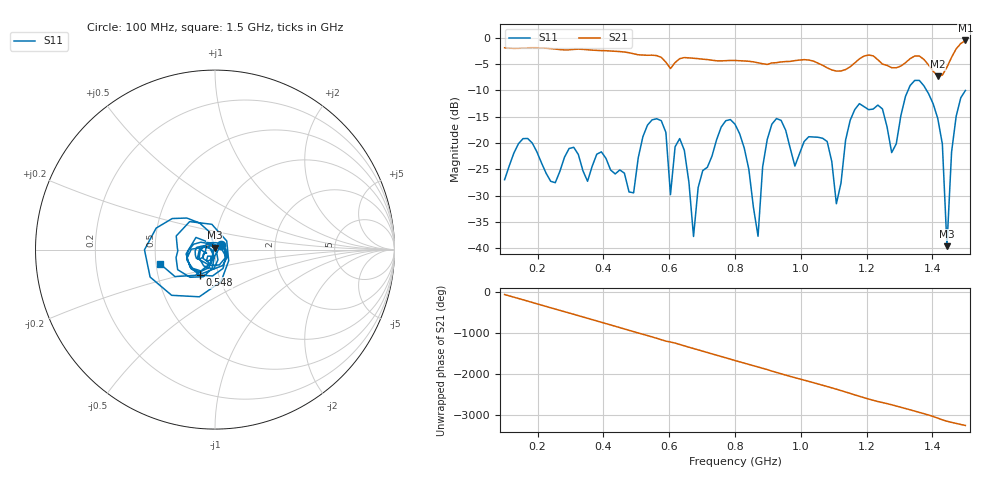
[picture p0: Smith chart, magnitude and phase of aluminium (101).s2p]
! NanoVNA-App
! Date: 2025-09-26 09:58:51
! Start: 100MHz Stop: 1,5GHz Points: 101
! S-Parameter data: F S11 S21 S12 S22
# Hz S RI R 50
!  Frequency  S11_Real  S11_Imag  S21_Real  S21_Imag  S12_Real  S12_Imag  S22_Real  S22_Imag
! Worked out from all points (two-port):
!   101 points, 100 MHz to 1.5 GHz, reference 50 ohm
!   highest |S21| = -0.52 dB at 1.5 GHz (marker M1); lowest = -7.3 dB at 1.416 GHz (marker M2)
!   |S21| within 3 dB of the highest: start of sweep to 567.2 MHz; 1.191 GHz to 1.221 GHz (30.38 MHz wide, 2.52 % of centre) (the widest 2 of 4)
!   lowest |S11| = -39.6 dB at 1.444 GHz (marker M3), VSWR 1.02, Z = 49.7 + j1.01 ohm
!   |S11| at or under -10 dB: start of sweep to 1.326 GHz; 1.382 GHz to end of sweep
!   S12 and S22 are empty: the file has one direction only
!   S11 on the Smith chart (normalised r, x): 100 MHz: 1.07, +0.06; 548 MHz: 0.81, -0.24; 1.5 GHz: 0.53, -0.09
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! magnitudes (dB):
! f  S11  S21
! 100 MHz  -27.0  -1.9
! 156 MHz  -19.2  -2.0
! 338 MHz  -25.3  -2.2
! 492 MHz  -29.5  -3.1
! 548 MHz  -15.6  -3.3
! 576 MHz  -15.8  -3.7
! 604 MHz  -29.8  -5.9
! 646 MHz  -21.4  -3.8
! 674 MHz  -37.8  -3.9
! 702 MHz  -25.3  -4.1
! 800 MHz  -16.4  -4.3
! 870 MHz  -37.7  -4.8
! 912 MHz  -16.4  -4.8
! 1.038 GHz  -18.9  -4.4
! 1.108 GHz  -31.5  -6.3
! 1.178 GHz  -12.5  -4.0
! 1.276 GHz  -21.8  -5.7
! 1.346 GHz  -8.1  -3.5
! 1.416 GHz  -15.3  -7.3
! 1.444 GHz  -39.6  -5.6
! 1.458 GHz  -21.7  -3.7
! 1.5 GHz  -10.0  -0.5
